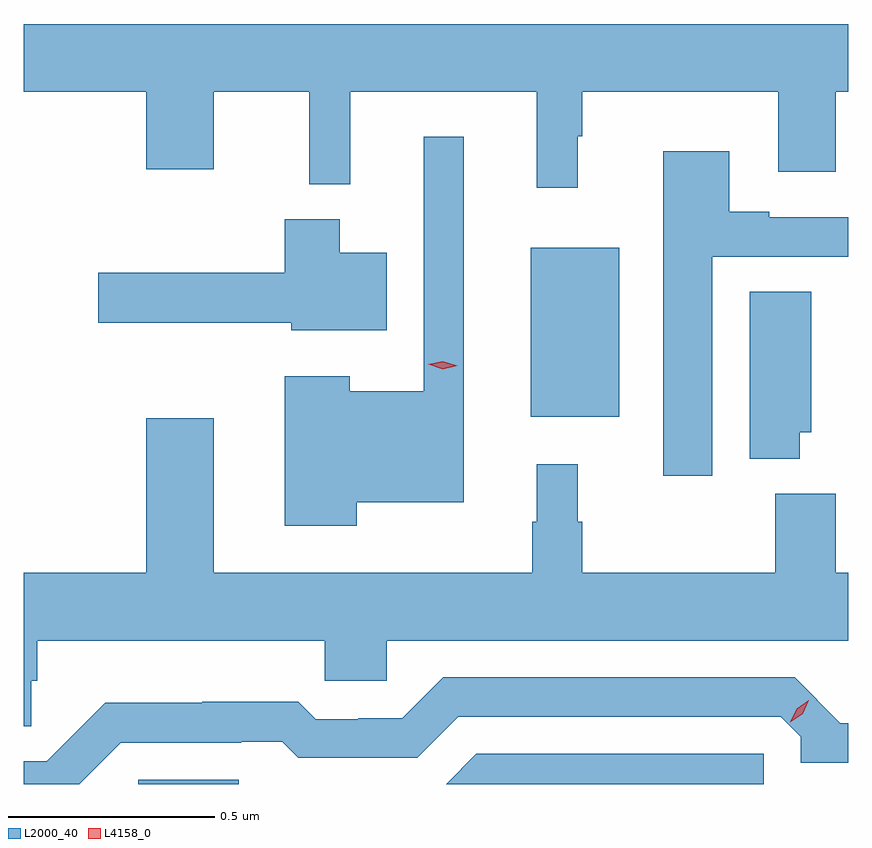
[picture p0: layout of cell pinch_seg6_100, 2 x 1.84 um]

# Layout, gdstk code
import gdstk
lib = gdstk.Library(unit=1e-6, precision=1e-09)
def R(c, l, rs):  # rectangles x0, y0, x1, y1
    for r in rs: c.add(gdstk.rectangle(r[:2], r[2:], *l))
def P(c, l, *ps):  # polygons
    for p in ps: c.add(gdstk.Polygon(p, *l))
L2000_40 = (2000, 40)
L4158_0 = (4158, 0)

pinch_seg6_100 = lib.new_cell('pinch_seg6_100')
R(pinch_seg6_100, L2000_40, [(932.22,916.352,932.464,916.362), (933.173,917.243,933.388,917.653)])
P(pinch_seg6_100, L2000_40, [(933.287,917.924),(933.298,917.924),(933.298,918.032),(933.773,918.032),(933.773,917.838),(933.913,917.838),(933.913,918.032),(933.943,918.032),(933.943,918.196),(931.943,918.196),(931.943,918.032),(932.24,918.032),(932.24,917.844),(932.404,917.844),(932.404,918.032),(932.635,918.032),(932.635,917.807),(932.735,917.807),(932.735,918.032),(933.188,918.032),(933.188,917.799),(933.287,917.799)],
  [(932.751,917.036),(933.01,917.036),(933.01,917.923),(932.913,917.923),(932.913,917.305),(932.734,917.305),(932.734,917.341),(932.576,917.341),(932.576,916.979),(932.751,916.979)],
  [(933.613,917.631),(933.943,917.631),(933.943,917.727),(933.751,917.727),(933.751,917.74),(933.655,917.74),(933.655,917.887),(933.494,917.887),(933.494,917.1),(933.613,917.1)],
  [(932.824,917.641),(932.71,917.641),(932.71,917.722),(932.576,917.722),(932.576,917.593),(932.124,917.593),(932.124,917.471),(932.592,917.471),(932.592,917.453),(932.824,917.453)],
  [(933.826,917.205),(933.853,917.205),(933.853,917.546),(933.704,917.546),(933.704,917.141),(933.826,917.141)],
  [(931.961,916.602),(931.976,916.602),(931.976,916.7),(932.673,916.7),(932.673,916.602),(932.823,916.602),(932.823,916.7),(933.943,916.7),(933.943,916.864),(933.913,916.864),(933.913,917.056),(933.766,917.056),(933.766,916.864),(933.298,916.864),(933.298,916.988),(933.287,916.988),(933.287,917.128),(933.188,917.128),(933.188,916.988),(933.177,916.988),(933.177,916.864),(932.404,916.864),(932.404,917.239),(932.24,917.239),(932.24,916.864),(931.943,916.864),(931.943,916.492),(931.961,916.492)],
  [(932.178,916.452),(932.471,916.452),(932.471,916.455),(932.57,916.455),(932.609,916.416),(932.898,916.416),(932.997,916.515),(933.78,916.515),(933.828,916.467),(933.828,916.404),(933.943,916.404),(933.943,916.5),(933.924,916.5),(933.813,916.611),(932.96,916.611),(932.861,916.512),(932.754,916.512),(932.754,916.509),(932.651,916.509),(932.609,916.552),(932.376,916.552),(932.376,916.549),(932.14,916.549),(931.998,916.407),(931.943,916.407),(931.943,916.352),(932.078,916.352)],
  [(933.738,916.425),(933.041,916.425),(932.968,916.352),(933.738,916.352)])
P(pinch_seg6_100, L4158_0, [(933.803,916.502),(933.803,916.503),(933.818,916.535),(933.848,916.555),(933.848,916.555),(933.848,916.555),(933.833,916.522),(933.803,916.502)],
  [(932.959,917.358),(932.924,917.37),(932.923,917.37),(932.924,917.37),(932.959,917.378),(932.994,917.367),(932.995,917.367),(932.994,917.367)])

lib.write_gds('pinch_seg6_100.gds')
